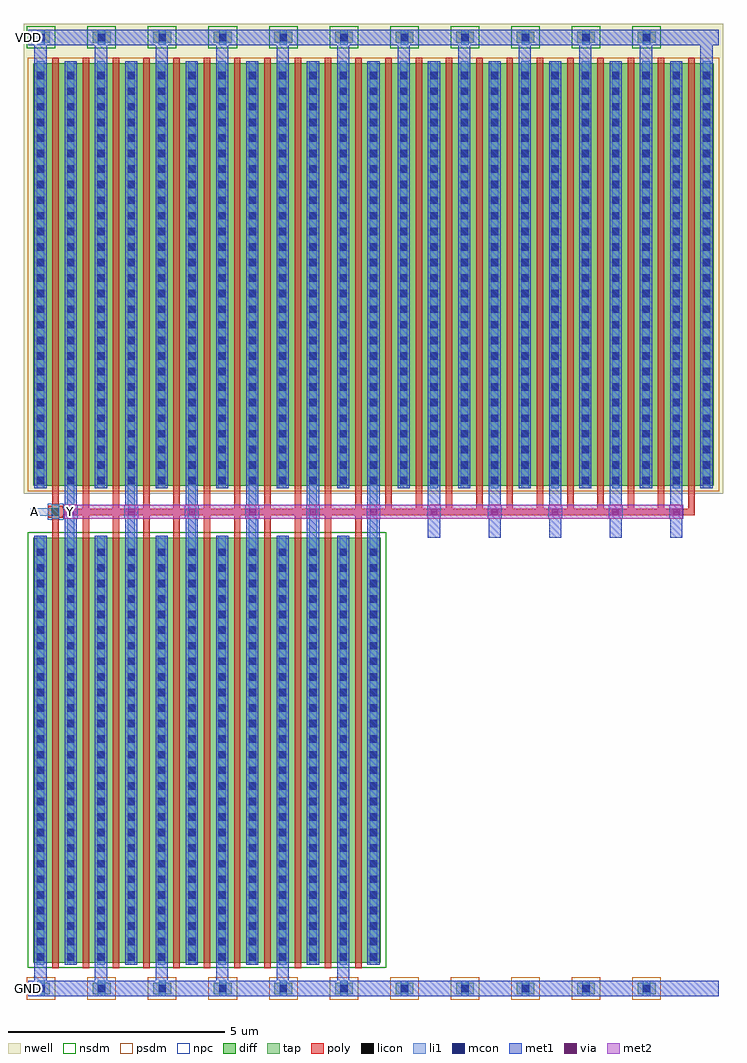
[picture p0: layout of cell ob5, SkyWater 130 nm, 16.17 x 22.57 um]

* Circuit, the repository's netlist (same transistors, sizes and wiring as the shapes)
* NGSPICE file created from ob5.ext - technology: sky130A

.subckt ob5 A Y VDD GND
X0 Y A VDD VDD sky130_fd_pr__pfet_01v8 ad=2.68675 pd=10.32 as=2.68675 ps=10.32 w=9.77 l=0.15
X1 VDD A Y VDD sky130_fd_pr__pfet_01v8 ad=2.68675 pd=10.32 as=2.68675 ps=10.32 w=9.77 l=0.15
X2 Y A VDD VDD sky130_fd_pr__pfet_01v8 ad=2.68675 pd=10.32 as=2.68675 ps=10.32 w=9.77 l=0.15
X3 GND A Y GND sky130_fd_pr__nfet_01v8 ad=2.7005 pd=10.37 as=2.7005 ps=10.37 w=9.82 l=0.15
X4 Y A GND GND sky130_fd_pr__nfet_01v8 ad=4.3208 pd=20.52 as=2.7005 ps=10.37 w=9.82 l=0.15
X5 Y A VDD VDD sky130_fd_pr__pfet_01v8 ad=2.68675 pd=10.32 as=2.68675 ps=10.32 w=9.77 l=0.15
X6 Y A GND GND sky130_fd_pr__nfet_01v8 ad=2.7005 pd=10.37 as=2.7005 ps=10.37 w=9.82 l=0.15
X7 GND A Y GND sky130_fd_pr__nfet_01v8 ad=2.7005 pd=10.37 as=2.7005 ps=10.37 w=9.82 l=0.15
X8 Y A VDD VDD sky130_fd_pr__pfet_01v8 ad=2.68675 pd=10.32 as=2.68675 ps=10.32 w=9.77 l=0.15
X9 Y A GND GND sky130_fd_pr__nfet_01v8 ad=2.7005 pd=10.37 as=4.3208 ps=20.52 w=9.82 l=0.15
X10 Y A VDD VDD sky130_fd_pr__pfet_01v8 ad=2.68675 pd=10.32 as=2.68675 ps=10.32 w=9.77 l=0.15
X11 Y A VDD VDD sky130_fd_pr__pfet_01v8 ad=2.68675 pd=10.32 as=2.68675 ps=10.32 w=9.77 l=0.15
X12 Y A VDD VDD sky130_fd_pr__pfet_01v8 ad=2.68675 pd=10.32 as=2.68675 ps=10.32 w=9.77 l=0.15
X13 Y A VDD VDD sky130_fd_pr__pfet_01v8 ad=2.68675 pd=10.32 as=2.68675 ps=10.32 w=9.77 l=0.15
X14 Y A VDD VDD sky130_fd_pr__pfet_01v8 ad=2.68675 pd=10.32 as=4.2988 ps=20.42 w=9.77 l=0.15
X15 Y A VDD VDD sky130_fd_pr__pfet_01v8 ad=2.68675 pd=10.32 as=2.68675 ps=10.32 w=9.77 l=0.15
X16 VDD A Y VDD sky130_fd_pr__pfet_01v8 ad=2.68675 pd=10.32 as=2.68675 ps=10.32 w=9.77 l=0.15
X17 Y A GND GND sky130_fd_pr__nfet_01v8 ad=2.7005 pd=10.37 as=2.7005 ps=10.37 w=9.82 l=0.15
X18 GND A Y GND sky130_fd_pr__nfet_01v8 ad=2.7005 pd=10.37 as=2.7005 ps=10.37 w=9.82 l=0.15
X19 VDD A Y VDD sky130_fd_pr__pfet_01v8 ad=2.68675 pd=10.32 as=2.68675 ps=10.32 w=9.77 l=0.15
X20 VDD A Y VDD sky130_fd_pr__pfet_01v8 ad=2.68675 pd=10.32 as=2.68675 ps=10.32 w=9.77 l=0.15
X21 VDD A Y VDD sky130_fd_pr__pfet_01v8 ad=2.68675 pd=10.32 as=2.68675 ps=10.32 w=9.77 l=0.15
X22 VDD A Y VDD sky130_fd_pr__pfet_01v8 ad=2.68675 pd=10.32 as=2.68675 ps=10.32 w=9.77 l=0.15
X23 VDD A Y VDD sky130_fd_pr__pfet_01v8 ad=2.68675 pd=10.32 as=2.68675 ps=10.32 w=9.77 l=0.15
X24 VDD A Y VDD sky130_fd_pr__pfet_01v8 ad=2.68675 pd=10.32 as=2.68675 ps=10.32 w=9.77 l=0.15
X25 VDD A Y VDD sky130_fd_pr__pfet_01v8 ad=2.68675 pd=10.32 as=2.68675 ps=10.32 w=9.77 l=0.15
X26 Y A GND GND sky130_fd_pr__nfet_01v8 ad=2.7005 pd=10.37 as=2.7005 ps=10.37 w=9.82 l=0.15
X27 Y A GND GND sky130_fd_pr__nfet_01v8 ad=2.7005 pd=10.37 as=2.7005 ps=10.37 w=9.82 l=0.15
X28 GND A Y GND sky130_fd_pr__nfet_01v8 ad=2.7005 pd=10.37 as=2.7005 ps=10.37 w=9.82 l=0.15
X29 VDD A Y VDD sky130_fd_pr__pfet_01v8 ad=4.2988 pd=20.42 as=2.68675 ps=10.32 w=9.77 l=0.15
X30 GND A Y GND sky130_fd_pr__nfet_01v8 ad=2.7005 pd=10.37 as=2.7005 ps=10.37 w=9.82 l=0.15
X31 VDD A Y VDD sky130_fd_pr__pfet_01v8 ad=2.68675 pd=10.32 as=2.68675 ps=10.32 w=9.77 l=0.15
X32 Y A VDD VDD sky130_fd_pr__pfet_01v8 ad=2.68675 pd=10.32 as=2.68675 ps=10.32 w=9.77 l=0.15
.ends

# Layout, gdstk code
import gdstk
lib = gdstk.Library(unit=1e-6, precision=1e-09)
def R(c, l, rs):  # rectangles x0, y0, x1, y1
    for r in rs: c.add(gdstk.rectangle(r[:2], r[2:], *l))
def A(c, l, x, y, w, h, nx, ny, dx, dy):  # array of equal rectangles
    R(c, l, [(x+i*dx, y+j*dy, x+i*dx+w, y+j*dy+h) for i in range(nx) for j in range(ny)])
nwell = (64, 20)
diff = (65, 20)
tap = (65, 44)
poly = (66, 20)
licon = (66, 44)
li1 = (67, 20)
mcon = (67, 44)
met1 = (68, 20)
via = (68, 44)
met2 = (69, 20)
nsdm = (93, 44)
psdm = (94, 20)
npc = (95, 20)

ob5 = lib.new_cell('ob5')
R(ob5, nwell, [(0,11.44,16.17,22.31)])
R(ob5, diff, [(0.22,0.6,8.25,10.42), (0.22,11.62,15.95,21.39)])
A(ob5, tap, 0.195, -0.13, 0.41, 0.26, 11, 2, 1.4, 21.99)
A(ob5, poly, 1.36, 0.47, 0.15, 10.475, 10, 1, 0.7, 0)
A(ob5, poly, 1.36, 11.095, 0.15, 10.425, 21, 1, 0.7, 0)
R(ob5, poly, [(0.66,0.47,0.81,10.885), (0.57,10.885,0.9,10.945), (0.57,10.945,15.51,11.095), (0.57,11.095,0.9,11.155), (0.66,11.155,0.81,21.52)])
A(ob5, licon, 0.315, -0.085, 0.17, 0.17, 11, 2, 1.4, 21.99)
A(ob5, licon, 0.3, 0.64, 0.17, 0.17, 12, 27, 0.7, 0.36)
A(ob5, licon, 0.3, 11.66, 0.17, 0.17, 23, 27, 0.7, 0.36)
R(ob5, licon, [(0.65,10.935,0.82,11.105)])
A(ob5, li1, 0.315, -0.175, 0.17, 0.35, 11, 2, 1.4, 21.99)
A(ob5, li1, 0.3, 0.55, 0.17, 9.92, 6, 1, 1.4, 0)
A(ob5, li1, 1, 0.55, 0.17, 20.89, 6, 1, 1.4, 0)
A(ob5, li1, 0.3, 11.57, 0.17, 9.87, 7, 1, 1.4, 0)
A(ob5, li1, 9.4, 11.57, 0.17, 9.87, 10, 1, 0.7, 0)
R(ob5, li1, [(0.65,10.855,0.82,10.935), (0.165,10.935,0.82,11.105), (0.65,11.105,0.82,11.185)])
A(ob5, mcon, 0.315, -0.085, 0.17, 0.17, 11, 2, 1.4, 21.99)
A(ob5, mcon, 0.3, 0.64, 0.17, 0.17, 12, 27, 0.7, 0.36)
A(ob5, mcon, 0.3, 11.66, 0.17, 0.17, 23, 27, 0.7, 0.36)
A(ob5, met1, 0.245, 0.18, 0.28, 10.29, 6, 1, 1.4, 0)
A(ob5, met1, 0.945, 0.55, 0.28, 10.31, 6, 1, 1.4, 0)
A(ob5, met1, 9.345, 10.42, 0.28, 0.44, 5, 1, 1.4, 0)
A(ob5, met1, 0.925, 10.86, 0.32, 0.32, 11, 1, 1.4, 0)
A(ob5, met1, 0.945, 11.18, 0.28, 10.26, 11, 1, 1.4, 0)
A(ob5, met1, 0.245, 11.57, 0.28, 10.24, 12, 1, 1.4, 0)
R(ob5, met1, [(0.1,-0.18,16.07,0.18), (0.1,21.81,16.07,22.17)])
A(ob5, via, 1.01, 10.945, 0.15, 0.15, 11, 1, 1.4, 0)
R(ob5, met2, [(0.935,10.86,15.235,11.18)])
A(ob5, nsdm, 0.07, 21.735, 0.66, 0.51, 11, 1, 1.4, 0)
R(ob5, nsdm, [(0.095,0.475,8.375,10.545)])
A(ob5, psdm, 0.07, -0.255, 0.66, 0.51, 11, 1, 1.4, 0)
R(ob5, psdm, [(0.095,11.495,16.075,21.515)])
R(ob5, npc, [(0.55,10.835,0.92,11.205)])
ob5.add(gdstk.Label('A', (0.25,11.02), layer=67, texttype=5))
ob5.add(gdstk.Label('Y', (1.085,11.02), layer=69, texttype=5))
ob5.add(gdstk.Label('VDD', (0.1,21.99), layer=68, texttype=5))
ob5.add(gdstk.Label('GND', (0.1,0), layer=68, texttype=5))

lib.write_gds('ob5.gds')
